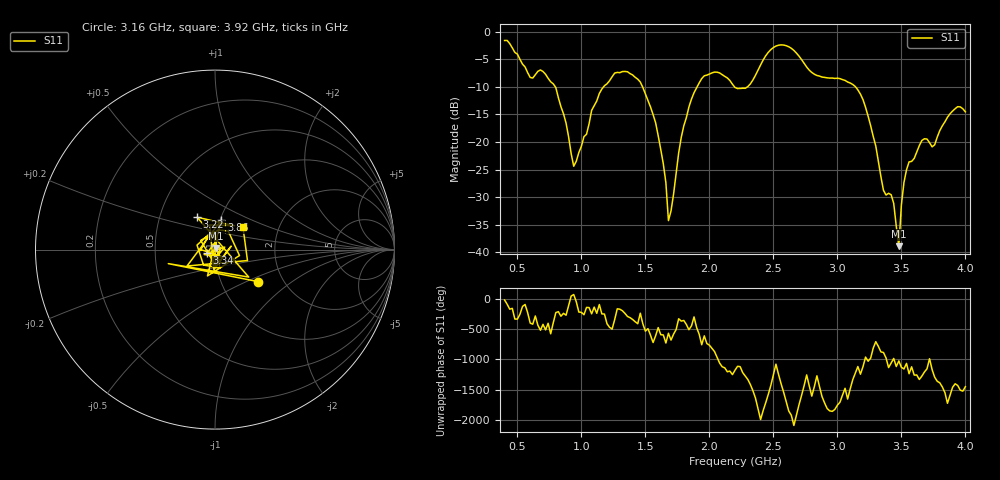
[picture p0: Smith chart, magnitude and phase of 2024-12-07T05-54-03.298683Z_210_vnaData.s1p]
!Created with skrf (http://scikit-rf.org).
# Hz S RI R 50.0
!freq ReS11 ImS11
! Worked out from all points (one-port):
!   181 points, 400 MHz to 4 GHz, reference 50 ohm
!   lowest |S11| = -38.9 dB at 3.48 GHz (marker M1), VSWR 1.02, Z = 50.6 + j0.952 ohm
!   |S11| at or under -10 dB: 796.7 MHz to 1.173 GHz (376 MHz wide, 38.2 % of centre); 1.478 GHz to 1.904 GHz (425.8 MHz wide, 25.2 % of centre); 3.142 GHz to end of sweep (the widest 3 of 4)
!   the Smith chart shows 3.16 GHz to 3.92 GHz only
!   S11 on the Smith chart (normalised r, x): 3.16 GHz: 1.49, -0.58; 3.22 GHz: 0.77, +0.29; 3.34 GHz: 0.91, -0.04; 3.86 GHz: 1.01, +0.34; 3.92 GHz: 1.32, +0.35
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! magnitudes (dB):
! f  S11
! 400 MHz  -1.6
! 600 MHz  -8.3
! 720 MHz  -7.7
! 860 MHz  -14.9
! 940 MHz  -24.4
! 1.14 GHz  -11.2
! 1.3 GHz  -7.4
! 1.46 GHz  -9.1
! 1.56 GHz  -15.0
! 1.64 GHz  -24.0
! 1.68 GHz  -34.2
! 1.76 GHz  -22.0
! 1.84 GHz  -13.6
! 1.94 GHz  -8.5
! 2.2 GHz  -10.1
! 2.5 GHz  -2.9
! 2.66 GHz  -3.4
! 3.1 GHz  -9.3
! 3.16 GHz  -10.5
! 3.22 GHz  -13.7
! 3.34 GHz  -26.3
! 3.44 GHz  -31.1
! 3.48 GHz  -38.9
! 3.52 GHz  -27.3
! 3.56 GHz  -23.6
! 3.86 GHz  -15.5
! 3.92 GHz  -13.9
! 4 GHz  -14.5
